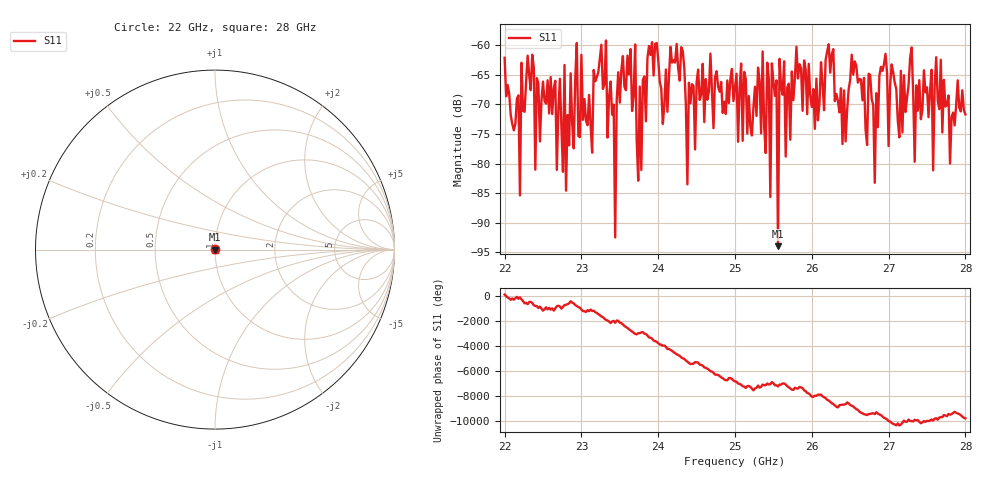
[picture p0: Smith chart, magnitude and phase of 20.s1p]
#  HZ  S  RI  R  50.00
! Rohde & Schwarz ZVA40 4Ports - Version 3.90 - 1145.1110k42 SN: 100403
! Date: 2023-10-04 09:33:23
! Measurement: S12
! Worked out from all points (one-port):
!   301 points, 22 GHz to 28 GHz, reference 50 ohm
!   lowest |S11| = -94.0 dB at 25.56 GHz (marker M1), VSWR 1.00, Z = 50 - j0.000181 ohm
!   |S11| at or under -10 dB: start of sweep to end of sweep
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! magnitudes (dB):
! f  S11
! 22 GHz  -62.1
! 22.2 GHz  -85.4
! 22.22 GHz  -63.0
! 22.4 GHz  -81.0
! 22.72 GHz  -65.7
! 22.76 GHz  -81.4
! 22.78 GHz  -63.3
! 22.8 GHz  -84.6
! 22.94 GHz  -59.6
! 22.96 GHz  -75.4
! 23.5 GHz  -69.7
! 24.26 GHz  -63.9
! 24.38 GHz  -83.5
! 25 GHz  -67.1
! 25.34 GHz  -74.9
! 25.36 GHz  -61.1
! 25.46 GHz  -85.7
! 25.48 GHz  -63.1
! 25.56 GHz  -94.0
! 25.58 GHz  -62.3
! 25.66 GHz  -78.8
! 25.76 GHz  -69.3
! 26.5 GHz  -65.9
! 26.82 GHz  -83.3
! 26.96 GHz  -61.5
! 27 GHz  -77.0
! 27.26 GHz  -66.8
! 28 GHz  -71.7
